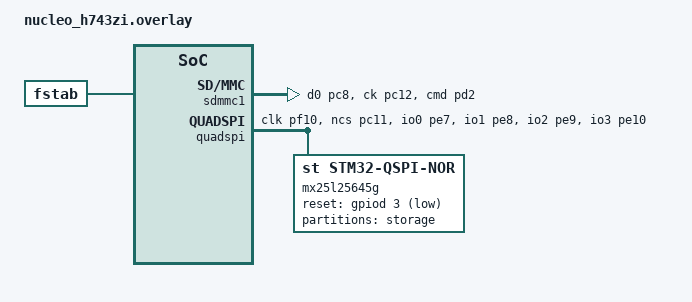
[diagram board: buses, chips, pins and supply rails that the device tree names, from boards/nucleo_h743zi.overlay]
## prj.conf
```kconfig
CONFIG_DISK_ACCESS=y
CONFIG_LOG=y
CONFIG_FILE_SYSTEM=y
CONFIG_FAT_FILESYSTEM_ELM=y
CONFIG_PRINTK=y
CONFIG_MAIN_STACK_SIZE=2048

CONFIG_COMMON_LIBC_MALLOC_ARENA_SIZE=8192
CONFIG_SDMMC_STM32_HWFC=y
CONFIG_DISK_DRIVER_SDMMC=y
CONFIG_LOG_MODE_IMMEDIATE=y
CONFIG_PM=y
```

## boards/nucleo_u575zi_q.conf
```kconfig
CONFIG_MAIN_STACK_SIZE=2048
CONFIG_COMMON_LIBC_MALLOC_ARENA_SIZE=8192

CONFIG_FS_LITTLEFS_FC_HEAP_SIZE=8192
CONFIG_SDMMC_STM32_HWFC=y
```

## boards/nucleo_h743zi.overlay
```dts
/*
 * Copyright (c) 2022 Lukasz Majewski, DENX Software Engineering GmbH
 * Copyright (c) 2024 STMicroelectronics
 *
 * SPDX-License-Identifier: Apache-2.0
 */
/delete-node/ &storage_partition;

&sdmmc1 {
	status = "okay";
	pinctrl-0 = <&sdmmc1_d0_pc8
		     &sdmmc1_ck_pc12
		     &sdmmc1_cmd_pd2>;

	pinctrl-names = "default";

	clocks = <&rcc STM32_CLOCK_BUS_AHB3 0x00010000>,
              <&rcc STM32_SRC_HSI48 SDMMC_SEL(0)>;
};

/ {
	fstab {
		compatible = "zephyr,fstab";
		lfs1: lfs1 {
			compatible = "zephyr,fstab,littlefs";
			read-size = <32>;
			prog-size = <32>;
			cache-size = <256>;
			lookahead-size = <64>;
			block-cycles = <512>;
			partition = <&storage_partition>;
			mount-point = "/lfs1";
		};
	};
};

&quadspi {
	pinctrl-0 = <&quadspi_clk_pf10 &quadspi_bk2_ncs_pc11
		     &quadspi_bk2_io0_pe7 &quadspi_bk2_io1_pe8
		     &quadspi_bk2_io2_pe9 &quadspi_bk2_io3_pe10>;
	pinctrl-names = "default";

	flash-id = <2>;
	status = "okay";

	mx25l25645g: qspi-nor-flash@90000000 {
		compatible = "st,stm32-qspi-nor";
		reg = <0x90000000 DT_SIZE_M(32)>; /* 256 Mbits */
		qspi-max-frequency = <50000000>;
		reset-gpios = <&gpiod 3 GPIO_ACTIVE_LOW>;
		reset-gpios-duration = <1>;
		spi-bus-width = <4>;
		status = "okay";

		partitions {
			   compatible = "fixed-partitions";
			   #address-cells = <1>;
			   #size-cells = <1>;

			   storage_partition: partition@0 {
			       label = "storage";
			       reg = <0 DT_SIZE_M(8)>;
			   };
		};
	};
};
```

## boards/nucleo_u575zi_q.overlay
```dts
&sdmmc1 {
    status = "okay";
    pinctrl-0 = <
        &sdmmc1_d0_pc8
        &sdmmc1_ck_pc12
        &sdmmc1_cmd_pd2>;
    pinctrl-names = "default";
};
```

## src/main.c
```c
/*
 * Copyright (c) 2019 Tavish Naruka <tavishnaruka@gmail.com>
 * Copyright (c) 2023 Nordic Semiconductor ASA
 * Copyright (c) 2023 Antmicro <www.antmicro.com>
 *
 * SPDX-License-Identifier: Apache-2.0
 */

/* Sample which uses the filesystem API and SDHC driver */

#include <zephyr/kernel.h>
#include <zephyr/device.h>
#include <zephyr/storage/disk_access.h>
#include <zephyr/logging/log.h>
#include <zephyr/fs/fs.h>

#if defined(CONFIG_FAT_FILESYSTEM_ELM)

#include <ff.h>

/*
 *  Note the fatfs library is able to mount only strings inside _VOLUME_STRS
 *  in ffconf.h
 */
#define DISK_DRIVE_NAME "SD"
#define DISK_MOUNT_PT "/"DISK_DRIVE_NAME":"

static FATFS fat_fs;
/* mounting info */
static struct fs_mount_t mp = {
	.type = FS_FATFS,
	.fs_data = &fat_fs,
};

#elif defined(CONFIG_FILE_SYSTEM_EXT2)

#include <zephyr/fs/ext2.h>

#define DISK_DRIVE_NAME "SDMMC"
#define DISK_MOUNT_PT "/ext"

static struct fs_mount_t mp = {
	.type = FS_EXT2,
	.flags = FS_MOUNT_FLAG_NO_FORMAT,
	.storage_dev = (void *)DISK_DRIVE_NAME,
	.mnt_point = "/ext",
};

#endif

#if defined(CONFIG_FAT_FILESYSTEM_ELM)
#define FS_RET_OK FR_OK
#else
#define FS_RET_OK 0
#endif

LOG_MODULE_REGISTER(main);

#define MAX_PATH 128
#define SOME_FILE_NAME "some.dat"
#define SOME_DIR_NAME "some"
#define SOME_REQUIRED_LEN MAX(sizeof(SOME_FILE_NAME), sizeof(SOME_DIR_NAME))

static int lsdir(const char *path);
#ifdef CONFIG_FS_SAMPLE_CREATE_SOME_ENTRIES
#define BUF_TO_WRITE_SIZE 512
static const char buf_to_write[BUF_TO_WRITE_SIZE];
static bool create_some_entries(const char *base_path)
{
	char path[MAX_PATH];
	struct fs_file_t file;
	int base = strlen(base_path);

	fs_file_t_init(&file);

	if (base >= (sizeof(path) - SOME_REQUIRED_LEN)) {
		LOG_ERR("Not enough concatenation buffer to create file paths");
		return false;
	}

	LOG_INF("Creating some dir entries in %s", base_path);
	strncpy(path, base_path, sizeof(path));

	path[base++] = '/';
	path[base] = 0;
	strcat(&path[base], SOME_FILE_NAME);

	if (fs_open(&file, path, FS_O_CREATE | FS_O_TRUNC | FS_O_WRITE) != 0) {
		LOG_ERR("Failed to create file %s", path);
		return false;
	}

	for (int x = 0; x < 1024; x++) {
		int ret = fs_write(&file, buf_to_write, BUF_TO_WRITE_SIZE);
		if (ret < 0) {
			LOG_ERR("Failed to write: %d", ret);
			return false;
		} else if (ret < BUF_TO_WRITE_SIZE) {
			LOG_ERR("Incomplete write: %d/%d", ret, BUF_TO_WRITE_SIZE);
			return false;
		}
	}

	fs_close(&file);

	// path[base] = 0;
	// strcat(&path[base], SOME_DIR_NAME);

	// if (fs_mkdir(path) != 0) {
	// 	LOG_ERR("Failed to create dir %s", path);
	// 	/* If code gets here, it has at least successes to create the
	// 	 * file so allow function to return true.
	// 	 */
	// }
	return true;
}
#endif

static const char *disk_mount_pt = DISK_MOUNT_PT;

int main(void)
{
	/* raw disk i/o */
	do {
		static const char *disk_pdrv = DISK_DRIVE_NAME;
		uint64_t memory_size_mb;
		uint32_t block_count;
		uint32_t block_size;

		if (disk_access_ioctl(disk_pdrv,
				DISK_IOCTL_CTRL_INIT, NULL) != 0) {
			LOG_ERR("Storage init ERROR!");
			break;
		}

		if (disk_access_ioctl(disk_pdrv,
				DISK_IOCTL_GET_SECTOR_COUNT, &block_count)) {
			LOG_ERR("Unable to get sector count");
			break;
		}
		LOG_INF("Block count %u", block_count);

		if (disk_access_ioctl(disk_pdrv,
				DISK_IOCTL_GET_SECTOR_SIZE, &block_size)) {
			LOG_ERR("Unable to get sector size");
			break;
		}
		printk("Sector size %u\n", block_size);

		memory_size_mb = (uint64_t)block_count * block_size;
		printk("Memory Size(MB) %u\n", (uint32_t)(memory_size_mb >> 20));

		if (disk_access_ioctl(disk_pdrv,
				DISK_IOCTL_CTRL_DEINIT, NULL) != 0) {
			LOG_ERR("Storage deinit ERROR!");
			break;
		}
	} while (0);

	mp.mnt_point = disk_mount_pt;

	int res = fs_mount(&mp);

	if (res == FS_RET_OK) {
		printk("Disk mounted.\n");
		/* Try to unmount and remount the disk */
		res = fs_unmount(&mp);
		if (res != FS_RET_OK) {
			printk("Error unmounting disk\n");
			return res;
		}
		res = fs_mount(&mp);
		if (res != FS_RET_OK) {
			printk("Error remounting disk\n");
			return res;
		}

		// if (lsdir(disk_mount_pt) == 0) {
#ifdef CONFIG_FS_SAMPLE_CREATE_SOME_ENTRIES
			if (create_some_entries(disk_mount_pt)) {
				lsdir(disk_mount_pt);
			}
#endif
		// }
	} else {
		printk("Error mounting disk.\n");
	}

	fs_unmount(&mp);

	printk("Finished.");

	while (1) {
		k_sleep(K_MSEC(1000));
	}
	return 0;
}

/* List dir entry by path
 *
 * @param path Absolute path to list
 *
 * @return Negative errno code on error, number of listed entries on
 *         success.
 */
static int lsdir(const char *path)
{
	int res;
	struct fs_dir_t dirp;
	static struct fs_dirent entry;
	int count = 0;

	fs_dir_t_init(&dirp);

	/* Verify fs_opendir() */
	res = fs_opendir(&dirp, path);
	if (res) {
		printk("Error opening dir %s [%d]\n", path, res);
		return res;
	}

	printk("\nListing dir %s ...\n", path);
	for (;;) {
		/* Verify fs_readdir() */
		res = fs_readdir(&dirp, &entry);

		/* entry.name[0] == 0 means end-of-dir */
		if (res || entry.name[0] == 0) {
			break;
		}

		if (entry.type == FS_DIR_ENTRY_DIR) {
			printk("[DIR ] %s\n", entry.name);
		} else {
			printk("[FILE] %s (size = %zu)\n",
				entry.name, entry.size);
		}
		count++;
	}

	/* Verify fs_closedir() */
	fs_closedir(&dirp);
	if (res == 0) {
		res = count;
	}

	return res;
}
```
